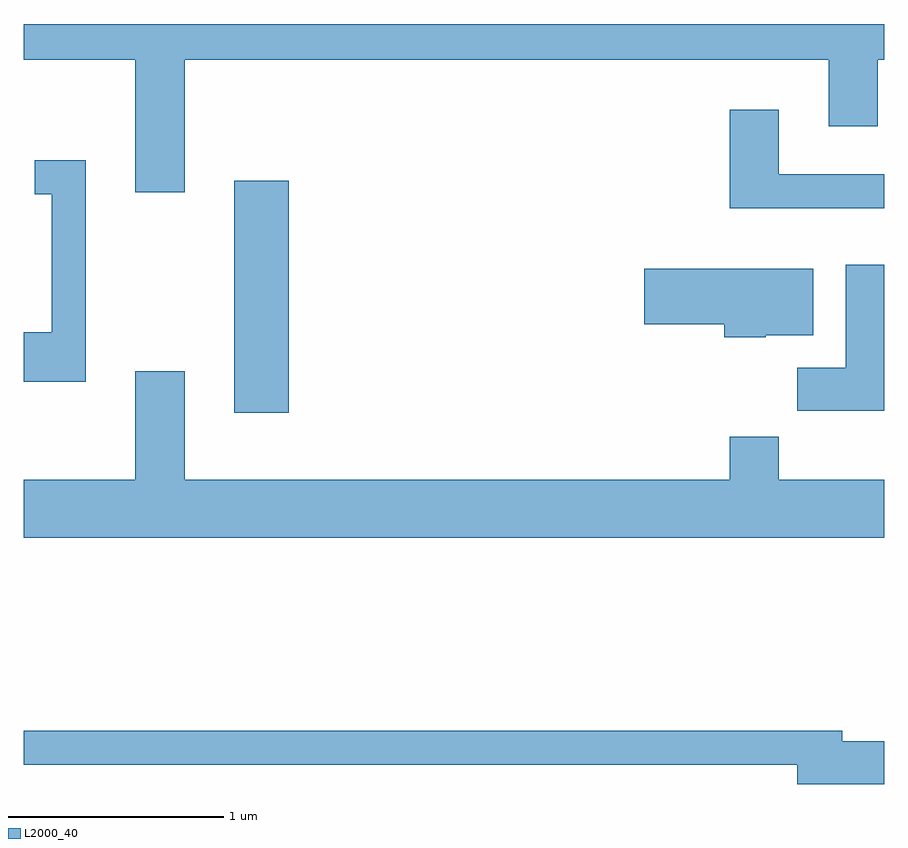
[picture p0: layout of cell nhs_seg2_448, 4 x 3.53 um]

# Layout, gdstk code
import gdstk
lib = gdstk.Library(unit=1e-6, precision=1e-09)
def R(c, l, rs):  # rectangles x0, y0, x1, y1
    for r in rs: c.add(gdstk.rectangle(r[:2], r[2:], *l))
def P(c, l, *ps):  # polygons
    for p in ps: c.add(gdstk.Polygon(p, *l))
L2000_40 = (2000, 40)

nhs_seg2_448 = lib.new_cell('nhs_seg2_448')
R(nhs_seg2_448, L2000_40, [(198.591,1059.996,198.844,1061.074)])
P(nhs_seg2_448, L2000_40, [(198.359,1061.636),(201.351,1061.636),(201.351,1061.326),(201.579,1061.326),(201.579,1061.636),(201.611,1061.636),(201.611,1061.802),(197.611,1061.802),(197.611,1061.636),(198.131,1061.636),(198.131,1061.021),(198.359,1061.021)],
  [(201.611,1061.104),(201.119,1061.104),(201.119,1061.404),(200.891,1061.404),(200.891,1060.946),(201.611,1060.946)],
  [(197.899,1061.169),(197.663,1061.169),(197.663,1061.011),(197.741,1061.011),(197.741,1060.369),(197.611,1060.369),(197.611,1060.141),(197.899,1060.141)],
  [(201.609,1060.456),(201.611,1060.456),(201.611,1060.684),(201.431,1060.684),(201.431,1060.204),(201.206,1060.204),(201.206,1060.006),(201.609,1060.006)],
  [(201.06,1060.356),(201.279,1060.356),(201.279,1060.664),(200.496,1060.664),(200.496,1060.406),(200.866,1060.406),(200.866,1060.346),(201.06,1060.346)],
  [(201.611,1059.684),(201.119,1059.684),(201.119,1059.884),(200.891,1059.884),(200.891,1059.684),(198.359,1059.684),(198.359,1060.189),(198.131,1060.189),(198.131,1059.684),(197.611,1059.684),(197.611,1059.416),(201.611,1059.416)],
  [(201.611,1058.469),(201.414,1058.469),(201.414,1058.519),(197.611,1058.519),(197.611,1058.361),(201.206,1058.361),(201.206,1058.271),(201.611,1058.271)])

lib.write_gds('nhs_seg2_448.gds')
